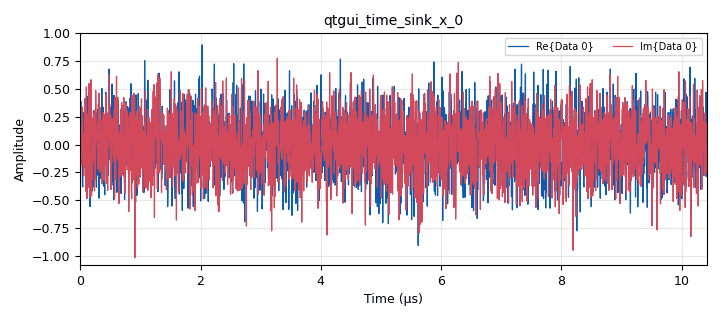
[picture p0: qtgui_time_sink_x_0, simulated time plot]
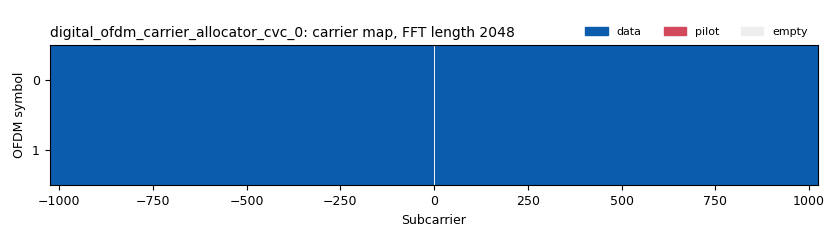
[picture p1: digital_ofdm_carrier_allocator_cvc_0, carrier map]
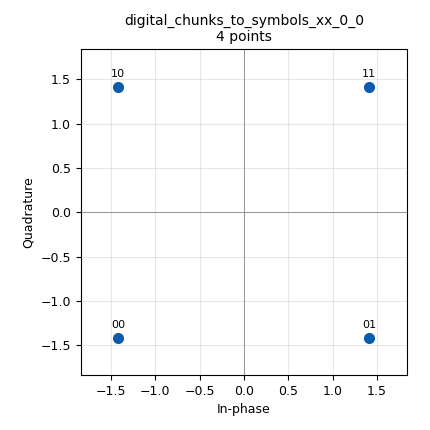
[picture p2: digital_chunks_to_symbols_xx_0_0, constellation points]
options:
  parameters:
    category: Custom
    description: Load calibrated SIC FIR taps and record CPI complex range profiles with targets present.
    generate_options: qt_gui
    hier_block_src_path: .:..
    id: range_profile_collection
    output_language: python
    title: Range Profile Collection
  states: {}

blocks:
- name: fft_len
  id: variable
  parameters:
    value: '2048'
  states: {}
- name: subcarrier_spacing
  id: variable
  parameters:
    value: 120e3
  states: {}
- name: zeropadding_fac
  id: variable
  parameters:
    value: '2'
  states: {}
- name: samp_rate
  id: variable
  parameters:
    value: int(fft_len * subcarrier_spacing)
  states: {}
- name: R_max
  id: variable
  parameters:
    comment: 最大不模糊距离 (m)，R = c/(2·BW)·N_fft
    value: 3e8/2/samp_rate*fft_len
  states: {}
- name: range_bin_step
  id: variable
  parameters:
    comment: 距离谱横轴步进 (m/bin)；GRC 显示 305.176m = 0.305 m
    value: 3e8/(2*int(fft_len*subcarrier_spacing)*zeropadding_fac)
  states: {}
- name: RX_gain
  id: variable_qtgui_range
  parameters:
    label: RX Gain
    start: '0'
    step: '1'
    stop: '50'
    value: '30'
  states: {}
- name: TX_gain
  id: variable_qtgui_range
  parameters:
    label: TX Gain
    start: '0'
    step: '1'
    stop: '50'
    value: '30'
  states: {}
- name: factor
  id: variable_qtgui_range
  parameters:
    start: '0'
    step: '0.001'
    stop: '1'
    value: '0.004'
  states: {}
- name: frame_rate_hz
  id: variable
  parameters:
    comment: CPI range-profile frame rate written into file_meta header
    value: samp_rate / (transpose_len * (fft_len + fft_len // 4))
  states: {}
- name: freq
  id: variable
  parameters:
    comment: 载频 (Hz)；须与 v_max 公式一致，否则速度估计会偏
    value: 6.0e9
  states: {}
- name: length_tag_key
  id: variable
  parameters:
    value: '"packet_len"'
  states: {}
- name: min_out_buf_val
  id: variable
  parameters:
    value: int(2*transpose_len*(fft_len+fft_len/4))
  states: {}
- name: n_carriers
  id: variable
  parameters:
    comment: occupied subcarriers (full band minus DC); matches gr_setup.resolve_gr_carrier_tuples
    value: fft_len - 2
  states: {}
- name: num_delay_samp
  id: variable_qtgui_range
  parameters:
    comment: Recalibrate after fft_len/rate change; align loopback peak to 0 m
    label: Number of delayed samples
    start: '0'
    step: '1'
    stop: packet_len
    value: '276'
  states: {}
- name: occupied_carriers
  id: variable
  parameters:
    value: list((list(range(-n_carriers//2, 0)) + list(range(1, n_carriers//2 + 1)),))
  states: {}
- name: packet_len
  id: variable
  parameters:
    comment: QPSK bytes per burst; derived from CPI symbol count
    value: transpose_len * n_carriers // 4
  states: {}
- name: payload_mod
  id: variable
  parameters:
    value: digital.constellation_qpsk()
  states: {}
- name: qpsk_symbols_per_packet
  id: variable
  parameters:
    comment: QPSK complex symbols per burst after repack_bits
    value: transpose_len * n_carriers
  states: {}
- name: record_enable
  id: variable_qtgui_check_box
  parameters:
    comment: Set True to record linear-power range profiles to disk
    'false': 'False'
    gui_hint: 1,4,1,1
    label: Record Enable
    'true': 'True'
    type: bool
    value: 'False'
  states: {}
- name: record_file_path
  id: variable
  parameters:
    comment: Fixed absolute path shared with range_profile_playback.grc
    value: '"/home/caict/Desktop/isac/gnuradio/tests/data_collection/range_profile_collection/dataset/run_001/range_profiles"'
  states: {}
- name: record_output_index
  id: variable
  parameters:
    comment: Selector output; 0=file_sink, 1=null_sink
    value: 0 if record_enable else 1
  states: {}
- name: sic_enable
  id: variable_qtgui_check_box
  parameters:
    comment: Enable fixed-FIR self-interference cancellation on RX path
    'false': 'False'
    gui_hint: 1,6,1,1
    label: SIC Enable
    'true': 'True'
    type: bool
    value: 'True'
  states: {}
- name: sic_input_index
  id: variable
  parameters:
    comment: Selector input; 0=SIC subtract output, 1=raw RX bypass
    value: 0 if sic_enable else 1
  states: {}
- name: sic_num_taps
  id: variable
  parameters:
    comment: FIR length; must match estimate_sic_taps.py --num-taps
    value: '64'
  states: {}
- name: sic_taps
  id: variable
  parameters:
    comment: Loaded at flowgraph start from sic_taps_path; zeros if missing
    value: '[0j]*int(sic_num_taps)'
  states: {}
- name: sic_taps_path
  id: variable
  parameters:
    comment: FIR taps from script/implementation/estimate_sic_taps.py
    value: '"/home/caict/Desktop/isac/gnuradio/tests/data_collection/sic_tap_calibration/dataset/run_001/sic_taps.npy"'
  states: {}
- name: transpose_len
  id: variable
  parameters:
    comment: CPI OFDM symbols per burst; 4 avoids qpsk>8192 sched limit at fft_len=2048
    value: '1'
  states: {}
- name: uhd_dev_args
  id: variable
  parameters:
    comment: 'X410 349B642; QSFP 10.2; external 10MHz+PPS: clock/time=external in args and Echotimer'
    value: '"type=x4xx,serial=349B642,mgmt_addr=192.168.1.100,addr=192.168.10.2,clock_source=external,time_source=external"'
  states: {}
- name: wait_to_start
  id: variable
  parameters:
    value: '0.03'
  states: {}
- name: analog_random_source_x_0
  id: analog_random_source_x
  parameters:
    max: '255'
    min: '0'
    num_samps: packet_len*8
    repeat: 'True'
    type: byte
  states: {}
- name: blocks_complex_to_mag_squared_0
  id: blocks_complex_to_mag_squared
  parameters:
    vlen: fft_len*zeropadding_fac
  states: {}
- name: blocks_file_sink_0
  id: blocks_file_sink
  parameters:
    comment: Record CPI coherently-integrated complex range profiles
    file: record_file_path
    type: complex
    vlen: fft_len*zeropadding_fac
  states: {}
- name: blocks_integrate_xx_0
  id: blocks_integrate_xx
  parameters:
    comment: Non-coherent sum over CPI symbols (decim=transpose_len)
    decim: transpose_len
    type: float
    vlen: fft_len*zeropadding_fac
  states: {}
- name: blocks_integrate_xx_0_cx
  id: blocks_integrate_xx
  parameters:
    comment: Coherent sum over CPI symbols for complex range-profile recording
    decim: transpose_len
    type: complex
    vlen: fft_len*zeropadding_fac
  states: {}
- name: blocks_multiply_const_vxx_0
  id: blocks_multiply_const_vxx
  parameters:
    const: factor
    minoutbuf: int(2*transpose_len*(fft_len+fft_len/4))
    type: complex
  states: {}
- name: blocks_nlog10_ff_0
  id: blocks_nlog10_ff
  parameters:
    k: '0'
    n: '10'
    vlen: fft_len*zeropadding_fac
  states: {}
- name: blocks_null_sink_rec_0
  id: blocks_null_sink
  parameters:
    comment: Discard complex integrate stream when recording disabled
    type: complex
    vlen: fft_len*zeropadding_fac
  states: {}
- name: blocks_repack_bits_bb_0
  id: blocks_repack_bits_bb
  parameters:
    endianness: gr.GR_LSB_FIRST
    k: '8'
    l: payload_mod.bits_per_symbol()
    len_tag_key: length_tag_key
    minoutbuf: 2*qpsk_symbols_per_packet
  states: {}
- name: blocks_selector_0
  id: blocks_selector
  parameters:
    comment: Route coherently-integrated complex range profile to file sink or null sink
    enabled: 'True'
    input_index: '0'
    num_inputs: '1'
    num_outputs: '2'
    output_index: record_output_index
    showports: 'False'
    type: complex
    vlen: fft_len*zeropadding_fac
  states: {}
- name: blocks_selector_sic_0
  id: blocks_selector
  parameters:
    comment: Route SIC-cancelled or raw RX to CP remover
    enabled: 'True'
    input_index: sic_input_index
    minoutbuf: min_out_buf_val
    num_inputs: '2'
    num_outputs: '1'
    output_index: '0'
    type: complex
  states: {}
- name: blocks_stream_to_tagged_stream_0
  id: blocks_stream_to_tagged_stream
  parameters:
    len_tag_key: length_tag_key
    minoutbuf: 2*qpsk_symbols_per_packet
    packet_len: packet_len
    type: byte
  states: {}
- name: blocks_sub_cc_sic_0
  id: blocks_sub_xx
  parameters:
    comment: y_clean = RX - h*TX_ref
    minoutbuf: min_out_buf_val
    type: complex
  states: {}
- name: digital_chunks_to_symbols_xx_0_0
  id: digital_chunks_to_symbols_xx
  parameters:
    dimension: '1'
    in_type: byte
    minoutbuf: 2*qpsk_symbols_per_packet
    out_type: complex
    symbol_table: payload_mod.points()
  states: {}
- name: digital_ofdm_carrier_allocator_cvc_0
  id: digital_ofdm_carrier_allocator_cvc
  parameters:
    fft_len: fft_len
    len_tag_key: length_tag_key
    minoutbuf: 4*transpose_len
    occupied_carriers: occupied_carriers
    output_is_shifted: 'True'
    pilot_carriers: ((),)
    pilot_symbols: ((),)
    sync_words: ()
  states: {}
- name: digital_ofdm_cyclic_prefixer_0
  id: digital_ofdm_cyclic_prefixer
  parameters:
    cp_len: fft_len//4
    input_size: fft_len
    minoutbuf: int(2*transpose_len*(fft_len+fft_len/4))
    tagname: length_tag_key
  states: {}
- name: fft_vxx_0
  id: fft_vxx
  parameters:
    fft_size: fft_len
    forward: 'False'
    minoutbuf: 2*transpose_len
    shift: 'True'
    type: complex
    window: ()
  states: {}
- name: fft_vxx_0_0
  id: fft_vxx
  parameters:
    fft_size: fft_len
    forward: 'True'
    minoutbuf: 2*transpose_len
    shift: 'True'
    type: complex
    window: ()
  states: {}
- name: fft_vxx_0_1
  id: fft_vxx
  parameters:
    fft_size: fft_len*zeropadding_fac
    forward: 'True'
    shift: 'False'
    type: complex
    window: window.blackmanharris(fft_len*zeropadding_fac)
  states: {}
- name: filter_fir_filter_ccc_sic_0
  id: fir_filter_xxx
  parameters:
    comment: SIC leakage FIR; taps from estimate_sic_taps.py
    decim: '1'
    minoutbuf: min_out_buf_val
    taps: sic_taps
    type: ccc
  states: {}
- name: qtgui_freq_sink_x_0
  id: qtgui_freq_sink_x
  parameters:
    bw: samp_rate
    fc: '0'
    fftsize: fft_len
    type: complex
  states: {}
- name: qtgui_time_sink_x_0
  id: qtgui_time_sink_x
  parameters:
    size: fft_len + fft_len//4
    srate: samp_rate
    type: complex
  states: {}
- name: qtgui_vector_sink_f_0
  id: qtgui_vector_sink_f
  parameters:
    autoscale: 'True'
    comment: Zero-Doppler range profile, 0~R_max m (full spectrum)
    grid: 'True'
    label1: Range Profile
    name: '"Range Profile"'
    vlen: fft_len*zeropadding_fac
    x_axis_label: '"Range"'
    x_start: '0'
    x_step: range_bin_step
    x_units: '"m"'
    y_axis_label: '"Power (dB)"'
    y_units: '"dB"'
    ymax: '0'
    ymin: '-40'
  states: {}
- name: radar_ofdm_cyclic_prefix_remover_cvc_0
  id: radar_ofdm_cyclic_prefix_remover_cvc
  parameters:
    cp_len: fft_len//4
    fft_len: fft_len
    len_key: '"packet_len"'
    minoutbuf: 2*transpose_len
  states: {}
- name: radar_ofdm_divide_vcvc_0
  id: radar_ofdm_divide_vcvc
  parameters:
    discarded_carriers: ()
    len_key: '"packet_len"'
    minoutbuf: 2*transpose_len
    num_sync_words: '0'
    vlen_in: fft_len
    vlen_out: (fft_len)*zeropadding_fac
  states: {}
- name: radar_usrp_echotimer_cc_0
  id: radar_usrp_echotimer_cc
  parameters:
    antenna_rx: '''RX1'''
    antenna_tx: '''TX/RX'''
    args_rx: uhd_dev_args
    args_tx: uhd_dev_args
    center_freq: freq
    channel_rx: '0'
    channel_tx: '0'
    clock_source_rx: '''external'''
    clock_source_tx: '''external'''
    comment: external 10MHz REF IN + PPS IN; must match device args
    gain_rx: RX_gain
    gain_tx: TX_gain
    minoutbuf: min_out_buf_val
    num_delay_samps: int(num_delay_samp)
    samp_rate: int(samp_rate)
    time_source_rx: '''external'''
    time_source_tx: '''external'''
    timeout_rx: '0.2'
    timeout_tx: '0.2'
    wait_rx: wait_to_start
    wait_tx: wait_to_start
  states: {}

connections:
- [analog_random_source_x_0, '0', blocks_stream_to_tagged_stream_0, '0']
- [blocks_complex_to_mag_squared_0, '0', blocks_integrate_xx_0, '0']
- [blocks_integrate_xx_0, '0', blocks_nlog10_ff_0, '0']
- [blocks_integrate_xx_0_cx, '0', blocks_selector_0, '0']
- [blocks_multiply_const_vxx_0, '0', filter_fir_filter_ccc_sic_0, '0']
- [blocks_multiply_const_vxx_0, '0', qtgui_time_sink_x_0, '0']
- [blocks_multiply_const_vxx_0, '0', radar_usrp_echotimer_cc_0, '0']
- [blocks_nlog10_ff_0, '0', qtgui_vector_sink_f_0, '0']
- [blocks_repack_bits_bb_0, '0', digital_chunks_to_symbols_xx_0_0, '0']
- [blocks_selector_0, '0', blocks_file_sink_0, '0']
- [blocks_selector_0, '1', blocks_null_sink_rec_0, '0']
- [blocks_selector_sic_0, '0', radar_ofdm_cyclic_prefix_remover_cvc_0, '0']
- [blocks_stream_to_tagged_stream_0, '0', blocks_repack_bits_bb_0, '0']
- [blocks_sub_cc_sic_0, '0', blocks_selector_sic_0, '0']
- [digital_chunks_to_symbols_xx_0_0, '0', digital_ofdm_carrier_allocator_cvc_0, '0']
- [digital_ofdm_carrier_allocator_cvc_0, '0', fft_vxx_0, '0']
- [digital_ofdm_carrier_allocator_cvc_0, '0', radar_ofdm_divide_vcvc_0, '0']
- [digital_ofdm_cyclic_prefixer_0, '0', blocks_multiply_const_vxx_0, '0']
- [fft_vxx_0, '0', digital_ofdm_cyclic_prefixer_0, '0']
- [fft_vxx_0_0, '0', radar_ofdm_divide_vcvc_0, '1']
- [fft_vxx_0_1, '0', blocks_complex_to_mag_squared_0, '0']
- [fft_vxx_0_1, '0', blocks_integrate_xx_0_cx, '0']
- [filter_fir_filter_ccc_sic_0, '0', blocks_sub_cc_sic_0, '1']
- [radar_ofdm_cyclic_prefix_remover_cvc_0, '0', fft_vxx_0_0, '0']
- [radar_ofdm_divide_vcvc_0, '0', fft_vxx_0_1, '0']
- [radar_usrp_echotimer_cc_0, '0', blocks_selector_sic_0, '1']
- [radar_usrp_echotimer_cc_0, '0', blocks_sub_cc_sic_0, '0']
- [radar_usrp_echotimer_cc_0, '0', qtgui_freq_sink_x_0, '0']

metadata:
  file_format: 1
  grc_version: 3.10.12.0
